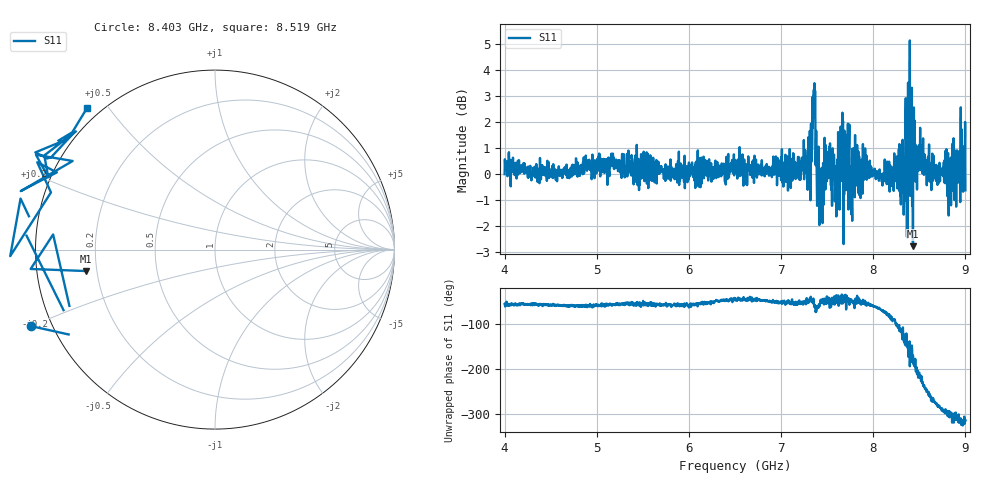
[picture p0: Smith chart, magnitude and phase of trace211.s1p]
! Created with skrf 1.8.0 (http://scikit-rf.org).
# Hz S RI R 50.0
!freq ReS11 ImS11
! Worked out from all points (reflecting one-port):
!   1601 points, 4 GHz to 9 GHz, reference 50 ohm
!   lowest |S11| = -2.8 dB at 8.431 GHz (marker M1), VSWR 6.32, Z = 7.96 - j4.03 ohm
!   phase of S11 starts at -56 deg and turns -258 deg over the sweep
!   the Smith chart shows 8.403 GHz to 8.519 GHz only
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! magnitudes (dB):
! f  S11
! 4 GHz  0.0
! 4.625 GHz  -0.2
! 5.25 GHz  0.2
! 5.875 GHz  -0.3
! 6.5 GHz  0.3
! 7.125 GHz  0.1
! 7.294 GHz  0.8
! 7.312 GHz  1.7
! 7.347 GHz  2.7
! 7.366 GHz  2.2
! 7.412 GHz  0.1
! 7.441 GHz  0.2
! 7.509 GHz  -0.1
! 7.609 GHz  -0.1
! 7.65 GHz  1.2
! 7.75 GHz  -0.3
! 7.769 GHz  -1.0
! 7.822 GHz  -0.4
! 8.097 GHz  0.0
! 8.259 GHz  0.7
! 8.316 GHz  0.1
! 8.334 GHz  -0.8
! 8.347 GHz  0.6
! 8.375 GHz  1.3
! 8.431 GHz  -2.8
! 8.841 GHz  0.6
! 8.972 GHz  0.4
! 9 GHz  -0.6
